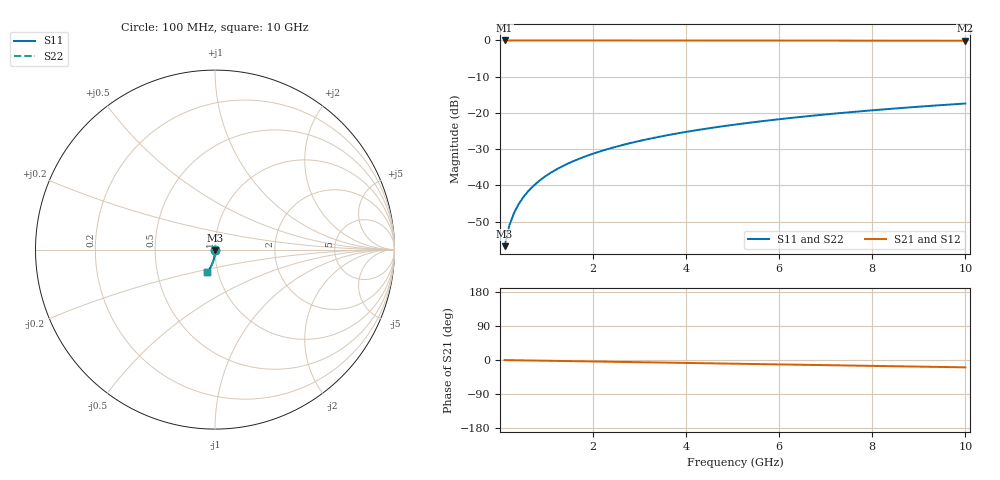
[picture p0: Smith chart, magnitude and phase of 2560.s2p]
# Hz S RI R 50.00
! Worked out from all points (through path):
!   100 points, 100 MHz to 10 GHz, reference 50 ohm
!   highest |S21| = 0.00 dB at 100 MHz (marker M1); lowest = -0.1 dB at 10 GHz (marker M2)
!   group delay of S21, straight-line fit = 5.39 ps
!   lowest |S11| = -56.7 dB at 100 MHz (marker M3), VSWR 1.00, Z = 50 - j0.137 ohm
!   |S11| at or under -10 dB: start of sweep to end of sweep
!   |S22| runs from -56.7 to -17.4 dB; largest |S21 - S12| = 0
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1e8  0.000482 -0.00137  0.9995 -0.00338  0.9995 -0.00338  0.000482 -0.00137
2e8  0.000469 -0.00275  0.9995 -0.00675  0.9995 -0.00675  0.000469 -0.00275
3e8  0.000446 -0.00412  0.9994 -0.0101  0.9994 -0.0101  0.000446 -0.00412
4e8  0.000413 -0.00549  0.9994 -0.0135  0.9994 -0.0135  0.000413 -0.00549
5e8  0.000371 -0.00686  0.9993 -0.0169  0.9993 -0.0169  0.000371 -0.00686
6e8  0.000319 -0.00823  0.9992 -0.0203  0.9992 -0.0203  0.000319 -0.00823
7e8  0.000258 -0.00961  0.9992 -0.0236  0.9992 -0.0236  0.000258 -0.00961
8e8  0.000188 -0.011  0.9991 -0.027  0.9991 -0.027  0.000188 -0.011
9e8  0.000108 -0.0123  0.9989 -0.0304  0.9989 -0.0304  0.000108 -0.0123
1.1e9  -8.01e-05 -0.0151  0.9987 -0.0371  0.9987 -0.0371  -8.01e-05 -0.0151
1.4e9  -0.000432 -0.0192  0.9982 -0.0473  0.9982 -0.0473  -0.000432 -0.0192
1.8e9  -0.00103 -0.0247  0.9973 -0.0608  0.9973 -0.0608  -0.00103 -0.0247
2.1e9  -0.00158 -0.0288  0.9965 -0.0709  0.9965 -0.0709  -0.00158 -0.0288
2.5e9  -0.00243 -0.0342  0.9953 -0.0843  0.9953 -0.0843  -0.00243 -0.0342
2.9e9  -0.00344 -0.0396  0.9938 -0.0978  0.9938 -0.0978  -0.00344 -0.0396
3.4e9  -0.0049 -0.0463  0.9917 -0.1146  0.9917 -0.1146  -0.0049 -0.0463
4.2e9  -0.00772 -0.057  0.9877 -0.1413  0.9877 -0.1413  -0.00772 -0.057
5.1e9  -0.0116 -0.0688  0.9821 -0.1712  0.9821 -0.1712  -0.0116 -0.0688
5.9e9  -0.0156 -0.0791  0.9763 -0.1976  0.9763 -0.1976  -0.0156 -0.0791
6.7e9  -0.0202 -0.0891  0.9696 -0.2238  0.9696 -0.2238  -0.0202 -0.0891
8.4e9  -0.0316 -0.1096  0.9528 -0.2785  0.9528 -0.2785  -0.0316 -0.1096
1e10  -0.0445 -0.1274  0.9339 -0.3288  0.9339 -0.3288  -0.0445 -0.1274
